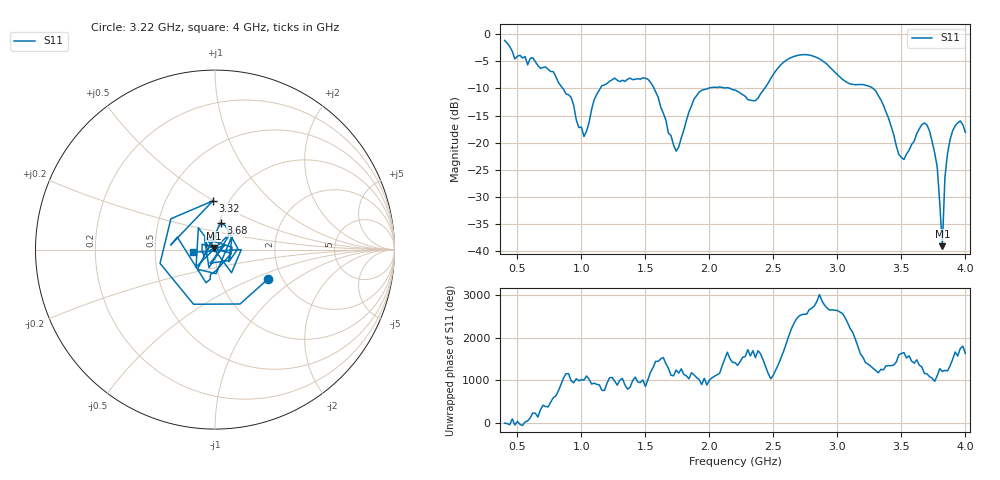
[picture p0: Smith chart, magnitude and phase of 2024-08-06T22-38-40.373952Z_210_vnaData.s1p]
!Created with skrf (http://scikit-rf.org).
# Hz S RI R 50.0
!freq ReS11 ImS11
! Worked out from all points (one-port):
!   181 points, 400 MHz to 4 GHz, reference 50 ohm
!   lowest |S11| = -39.1 dB at 3.82 GHz (marker M1), VSWR 1.02, Z = 49.4 + j0.89 ohm
!   |S11| at or under -10 dB: 855.4 MHz to 1.147 GHz (292.1 MHz wide, 29.2 % of centre); 1.568 GHz to 1.989 GHz (421.4 MHz wide, 23.7 % of centre); 3.279 GHz to end of sweep (the widest 3 of 4)
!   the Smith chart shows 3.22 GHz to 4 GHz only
!   S11 on the Smith chart (normalised r, x): 3.22 GHz: 1.71, -0.62; 3.32 GHz: 0.84, +0.49; 3.68 GHz: 1.02, +0.31; 4 GHz: 0.78, -0.02
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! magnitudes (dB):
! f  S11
! 400 MHz  -1.1
! 480 MHz  -4.6
! 620 MHz  -4.3
! 860 MHz  -10.1
! 1.02 GHz  -18.9
! 1.16 GHz  -9.5
! 1.3 GHz  -8.7
! 1.52 GHz  -8.3
! 1.74 GHz  -21.6
! 1.76 GHz  -20.8
! 1.92 GHz  -10.7
! 2.2 GHz  -10.3
! 2.36 GHz  -12.3
! 2.66 GHz  -4.1
! 2.86 GHz  -4.5
! 3.1 GHz  -9.2
! 3.22 GHz  -9.4
! 3.32 GHz  -11.3
! 3.48 GHz  -22.2
! 3.56 GHz  -21.4
! 3.68 GHz  -16.4
! 3.72 GHz  -17.9
! 3.78 GHz  -24.5
! 3.82 GHz  -39.1
! 3.84 GHz  -26.4
! 3.88 GHz  -19.5
! 3.96 GHz  -16.0
! 4 GHz  -18.1
